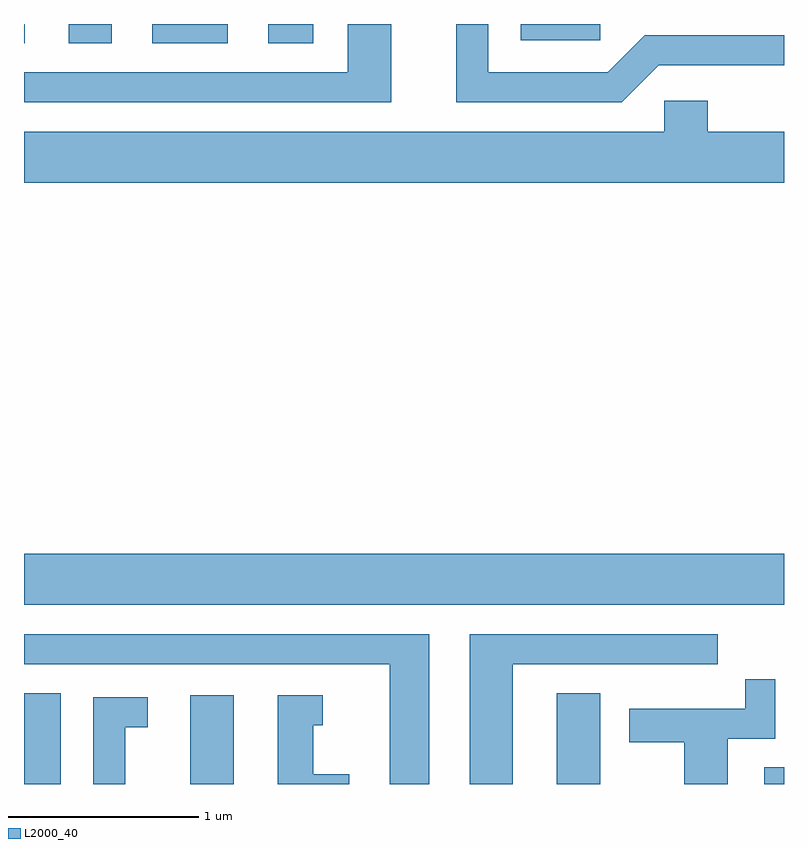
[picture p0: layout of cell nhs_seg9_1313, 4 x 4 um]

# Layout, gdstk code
import gdstk
lib = gdstk.Library(unit=1e-6, precision=1e-09)
def R(c, l, rs):  # rectangles x0, y0, x1, y1
    for r in rs: c.add(gdstk.rectangle(r[:2], r[2:], *l))
def P(c, l, *ps):  # polygons
    for p in ps: c.add(gdstk.Polygon(p, *l))
L2000_40 = (2000, 40)

nhs_seg9_1313 = lib.new_cell('nhs_seg9_1313')
R(nhs_seg9_1313, L2000_40, [(223.611,1986.432,223.804,1986.909), (224.486,1986.432,224.714,1986.899), (226.416,1986.432,226.644,1986.909), (227.506,1986.432,227.611,1986.519), (223.611,1987.376,227.611,1987.644), (223.611,1990.331,223.614,1990.432), (223.846,1990.331,224.074,1990.432), (224.286,1990.331,224.683,1990.432), (224.896,1990.331,225.133,1990.432), (226.226,1990.346,226.643,1990.432)])
P(nhs_seg9_1313, L2000_40, [(226.952,1990.216),(227.611,1990.216),(227.611,1990.374),(226.879,1990.374),(226.684,1990.179),(226.054,1990.179),(226.054,1990.432),(225.886,1990.432),(225.886,1990.021),(226.757,1990.021)],
  [(225.544,1990.432),(225.316,1990.432),(225.316,1990.179),(223.611,1990.179),(223.611,1990.021),(225.544,1990.021)],
  [(227.611,1989.864),(227.209,1989.864),(227.209,1990.029),(226.981,1990.029),(226.981,1989.864),(223.611,1989.864),(223.611,1989.596),(227.611,1989.596)],
  [(226.184,1987.061),(227.263,1987.061),(227.263,1987.219),(225.956,1987.219),(225.956,1986.432),(226.184,1986.432)],
  [(225.744,1987.219),(223.611,1987.219),(223.611,1987.061),(225.536,1987.061),(225.536,1986.432),(225.744,1986.432)],
  [(227.314,1986.671),(227.564,1986.671),(227.564,1986.983),(227.406,1986.983),(227.406,1986.829),(226.796,1986.829),(226.796,1986.651),(227.086,1986.651),(227.086,1986.432),(227.314,1986.432)],
  [(225.324,1986.484),(225.134,1986.484),(225.134,1986.741),(225.183,1986.741),(225.183,1986.899),(224.946,1986.899),(224.946,1986.432),(225.324,1986.432)],
  [(224.144,1986.731),(224.263,1986.731),(224.263,1986.889),(223.976,1986.889),(223.976,1986.432),(224.144,1986.432)])

lib.write_gds('nhs_seg9_1313.gds')
